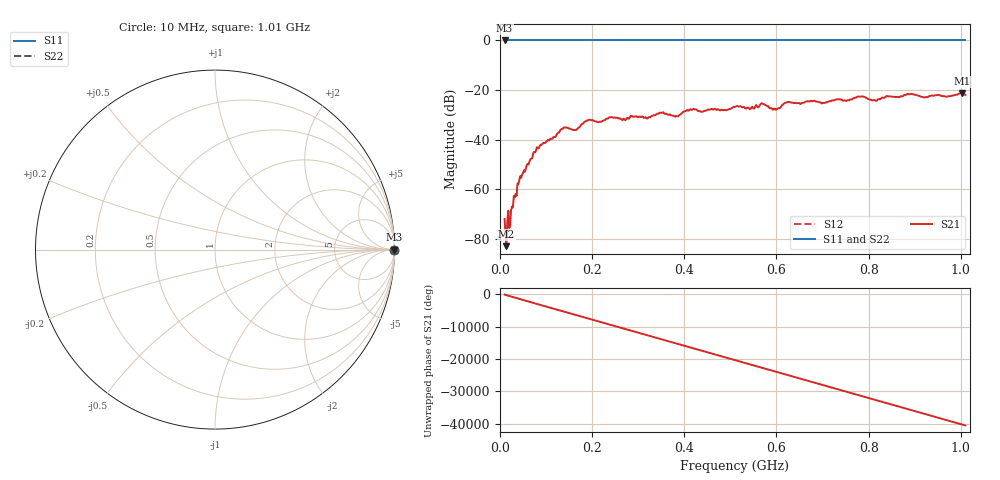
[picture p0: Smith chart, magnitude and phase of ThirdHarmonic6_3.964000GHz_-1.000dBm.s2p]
! 8/17/2025 2:05:02 PM
! C:\ANRITSUVNA\TEMP\TEMP.S2P
! CHANNEL.1
! TR.MEASUREMENT
! RAW.DATA
! RF.CORRECTION.OFF
! AVERAGING.OFF
! IF.BANDWIDTH: 5KHZ
! SWEEPTYPE:  FREQ.SWEEP(Linear)
! Reference Plane Port Info
! PORT:  PORT1  PORT2
! DISTANCE:  0  m  0  m
! TIME:  0  s  0  s
! PHASE.OFFSET:  0  deg.  0  deg.
! LOSS:  0  dB  0  dB
! REF.LOSS:  0  dB  0  dB
! REF.FREQ:  0  Hz  0  Hz
! Power Info
! POWER:  -20  dBm  -20  dBm
! EFF.POWER:  -20  dBm  -20  dBm
! SOURCE.ATTEN:  0  dB  0  dB
! TEST.ATTEN:  0  dB  0  dB
# GHZ S RI R 50.0
! FREQ.GHZ  S11RE  S11IM  S21RE  S21IM  S12RE  S12IM  S22RE  S22IM
!; PortSelection: Port_12
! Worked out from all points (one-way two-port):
!   501 points, 10 MHz to 1.01 GHz, reference 50 ohm
!   highest |S21| = -21.26 dB at 1.002 GHz (marker M1); lowest = -83.0 dB at 14 MHz (marker M2)
!   lowest |S11| = 0.0 dB at 10 MHz (marker M3)
!   |S11| at or under -10 dB: nowhere
!   |S22| runs from 0.0 to 0.0 dB; largest |S21 - S12| = 1.1
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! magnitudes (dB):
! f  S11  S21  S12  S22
! 10 MHz  0.0  -72.1  0.0  0.0
! 14 MHz  0.0  -83.0  0.0  0.0
! 16 MHz  0.0  -72.4  0.0  0.0
! 24 MHz  0.0  -68.5  0.0  0.0
! 28 MHz  0.0  -67.4  0.0  0.0
! 42 MHz  0.0  -56.4  0.0  0.0
! 76 MHz  0.0  -45.2  0.0  0.0
! 136 MHz  0.0  -35.7  0.0  0.0
! 162 MHz  0.0  -36.1  0.0  0.0
! 178 MHz  0.0  -33.7  0.0  0.0
! 344 MHz  0.0  -29.6  0.0  0.0
! 382 MHz  0.0  -30.5  0.0  0.0
! 416 MHz  0.0  -28.1  0.0  0.0
! 510 MHz  0.0  -26.8  0.0  0.0
! 570 MHz  0.0  -25.5  0.0  0.0
! 596 MHz  0.0  -27.5  0.0  0.0
! 624 MHz  0.0  -24.8  0.0  0.0
! 678 MHz  0.0  -24.5  0.0  0.0
! 814 MHz  0.0  -24.2  0.0  0.0
! 844 MHz  0.0  -22.6  0.0  0.0
! 1.002 GHz  0.0  -21.3  0.0  0.0
! 1.01 GHz  0.0  -22.0  0.0  0.0
